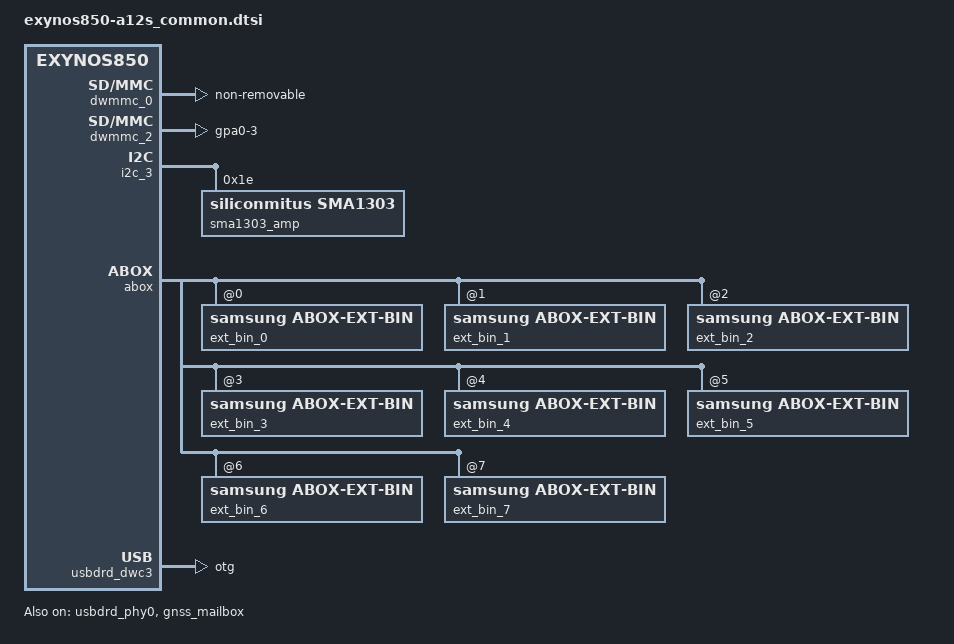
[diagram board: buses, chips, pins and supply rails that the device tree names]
/*
 * SAMSUNG EXYNOS850 board common device tree source
 *
 * Copyright (c) 2019 Samsung Electronics Co., Ltd.
 *		http://www.samsung.com
 *
 * This program is free software; you can redistribute it and/or modify
 * it under the terms of the GNU General Public License version 2 as
 * published by the Free Software Foundation.
 */

#include "../exynos850_common.dtsi"
#include "../exynos850_argos.dtsi"
#include "display-lcd_a12s_common.dtsi"
#include "exynos850-a12s_input_common.dtsi"

/ {
	compatible = "samsung,A12s", "samsung,exynos850";

	fragment@common {
		target-path = "/";
		__overlay__ {
			#address-cells = <2>;
			#size-cells = <1>;

			gnss_mailbox: gnss_mailbox {
				status = "okay";
				compatible = "samsung,exynos-gnss-mailbox";

				reg = <0x0 0x11980000 0x180>; /* MAILBOX AP2GNSS */

				interrupt-parent = <&gic>;
				interrupts = <GIC_SPI INTREQ__MAILBOX_GNSS2AP IRQ_TYPE_LEVEL_HIGH>;

				mbox,name = "gnss_mailbox";
				mbox,id = <0>;
			};

			gnssif {
				status = "okay";
				compatible = "samsung,exynos-gnss";

				interrupt-parent = <&gic>;
				interrupts = <GIC_SPI INTREQ__ALIVE_GNSS_ACTIVE IRQ_TYPE_LEVEL_HIGH>,
						<GIC_SPI INTREQ__GNSS_WDOG_RESET IRQ_TYPE_EDGE_RISING>,
						<GIC_SPI INTREQ__GNSS_WAKEUP_INT IRQ_TYPE_LEVEL_HIGH>,
						<GIC_SPI INTREQ__GNSS_SW_INT IRQ_TYPE_EDGE_RISING>;
				interrupt-names = "ACTIVE", "WATCHDOG", "WAKEUP", "SW_INIT";
				shmem,name = "KEPLER";
				device_node_name = "gnss_ipc";

				/* Mailbox */
				mbox_info = <&gnss_mailbox>;

				/* ap2gnss */
				mbx,int_bcmd = <0>;
				mbx,int_req_fault_info = <1>;
				mbx,int_ipc_msg = <2>;
				mbx,int_ack_wake_set = <3>;
				mbx,int_ack_wake_clr = <4>;

				/* gnss2ap */
				mbx,irq_bcmd = <0>;
				mbx,irq_rsp_fault_info = <1>;
				mbx,irq_ipc_msg = <2>;
				mbx,irq_req_wake_clr = <4>;
				mbx,irq_simple_lock = <15>;

				mbx,reg_bcmd_ctrl = <0>, <1>, <2>, <3>;

				/* Memory */
				memory-region = <&gnss_rmem>;

				reg_rx_ipc_msg = <1 5>;
				reg_tx_ipc_msg = <1 4>;
				reg_rx_head = <1 3>;
				reg_rx_tail = <1 2>;
				reg_tx_head = <1 1>;
				reg_tx_tail = <1 0>;
				fault_info = <1 0x200000 0x180000>;

				shmem,gnss_code_offset = <0x00000000>;
				shmem,gnss_code_size = <0x00000000>;
				shmem,ipc_offset = <0x00380000>;
				shmem,ipc_size = <0x00080000>;
				shmem,ipc_reg_cnt = <32>;
			};

			but_zones: but_zones {
				#list-but-cells = <3>;
			};

			exynos_rgt {
				compatible = "samsung,exynos-rgt";
				num-acpm-pmic = <1>;
			};

			dummy_audio_codec: audio-codec-dummy {
				compatible = "snd-soc-dummy";
				#sound-dai-cells = <0>;
			};

			sound {
				compatible = "samsung,exynos3830-madera";

				samsung,routing = "ABOX SPDY Capture", "VINPUT_FM",
					"SPEAKER", "OUT",
					"BLUETOOTH2 SPK", "ABOX UAIF2 Playback",
					"ABOX UAIF2 Capture", "BLUETOOTH2 MIC",
					"ECHO SPK", "ABOX ECHO Playback",
					"ABOX ECHO Capture", "ECHO MIC",
					"FWD SPK", "ABOX FWD Playback",
					"ABOX FWD Capture", "FWD MIC";

				samsung,aux = <&abox_tplg>;

				rdma0 {
					cpu {
						sound-dai = <&abox_rdma_0 0>;
					};
					platform {
						sound-dai = <&abox_rdma_0 0>;
					};
					codec {
						sound-dai = <&dummy_audio_codec>;
					};
				};
				rdma1 {
					cpu {
						sound-dai = <&abox_rdma_1 0>;
					};
					platform {
						sound-dai = <&abox_rdma_1 0>;
					};
					codec {
						sound-dai = <&dummy_audio_codec>;
					};
				};
				rdma2 {
					cpu {
						sound-dai = <&abox_rdma_2 0>;
					};
					platform {
						sound-dai = <&abox_rdma_2 0>;
					};
					codec {
						sound-dai = <&dummy_audio_codec>;
					};
				};
				rdma3 {
					cpu {
						sound-dai = <&abox_rdma_3 0>;
					};
					platform {
						sound-dai = <&abox_rdma_3 0>;
					};
					codec {
						sound-dai = <&dummy_audio_codec>;
					};
				};
				rdma4 {
					cpu {
						sound-dai = <&abox_rdma_4 0>;
					};
					platform {
						sound-dai = <&abox_rdma_4 0>;
					};
					codec {
						sound-dai = <&dummy_audio_codec>;
					};
				};
				rdma5 {
					cpu {
						sound-dai = <&abox_rdma_5 0>;
					};
					platform {
						sound-dai = <&abox_rdma_5 0>;
					};
					codec {
						sound-dai = <&dummy_audio_codec>;
					};
				};
				rdma6 {
					cpu {
						sound-dai = <&abox_rdma_6 0>;
					};
					platform {
						sound-dai = <&abox_rdma_6 0>;
					};
					codec {
						sound-dai = <&dummy_audio_codec>;
					};
				};
				rdma7 {
					cpu {
						sound-dai = <&abox_rdma_7 0>;
					};
					platform {
						sound-dai = <&abox_rdma_7 0>;
					};
					codec {
						sound-dai = <&dummy_audio_codec>;
					};
				};
				rdma8 {
					cpu {
						sound-dai = <&abox_rdma_8 0>;
					};
					platform {
						sound-dai = <&abox_rdma_8 0>;
					};
					codec {
						sound-dai = <&dummy_audio_codec>;
					};
				};
				rdma9 {
					cpu {
						sound-dai = <&abox_rdma_9 0>;
					};
					platform {
						sound-dai = <&abox_rdma_9 0>;
					};
					codec {
						sound-dai = <&dummy_audio_codec>;
					};
				};
				rdma10 {
					cpu {
						sound-dai = <&abox_rdma_10 0>;
					};
					platform {
						sound-dai = <&abox_rdma_10 0>;
					};
					codec {
						sound-dai = <&dummy_audio_codec>;
					};
				};
				rdma11 {
					cpu {
						sound-dai = <&abox_rdma_11 0>;
					};
					platform {
						sound-dai = <&abox_rdma_11 0>;
					};
					codec {
						sound-dai = <&dummy_audio_codec>;
					};
				};
				wdma0 {
					cpu {
						sound-dai = <&abox_wdma_0 0>;
					};
					platform {
						sound-dai = <&abox_wdma_0 0>;
					};
					codec {
						sound-dai = <&dummy_audio_codec>;
					};
				};
				wdma1 {
					cpu {
						sound-dai = <&abox_wdma_1 0>;
					};
					platform {
						sound-dai = <&abox_wdma_1 0>;
					};
					codec {
						sound-dai = <&dummy_audio_codec>;
					};
				};
				wdma2 {
					cpu {
						sound-dai = <&abox_wdma_2 0>;
					};
					platform {
						sound-dai = <&abox_wdma_2 0>;
					};
					codec {
						sound-dai = <&dummy_audio_codec>;
					};
				};
				wdma3 {
					cpu {
						sound-dai = <&abox_wdma_3 0>;
					};
					platform {
						sound-dai = <&abox_wdma_3 0>;
					};
					codec {
						sound-dai = <&dummy_audio_codec>;
					};
				};
				wdma4 {
					cpu {
						sound-dai = <&abox_wdma_4 0>;
					};
					platform {
						sound-dai = <&abox_wdma_4 0>;
					};
					codec {
						sound-dai = <&dummy_audio_codec>;
					};
				};
				dual0 {
					cpu {
						sound-dai = <&abox_dual_0>;
					};
					platform {
						sound-dai = <&abox_dual_0>;
					};
					codec {
						sound-dai = <&dummy_audio_codec>;
					};
				};
				dual1 {
					cpu {
						sound-dai = <&abox_dual_1>;
					};
					platform {
						sound-dai = <&abox_dual_1>;
					};
					codec {
						sound-dai = <&dummy_audio_codec>;
					};
				};
				dual2 {
					cpu {
						sound-dai = <&abox_dual_2>;
					};
					platform {
						sound-dai = <&abox_dual_2>;
					};
					codec {
						sound-dai = <&dummy_audio_codec>;
					};
				};
				dual3 {
					cpu {
						sound-dai = <&abox_dual_3>;
					};
					platform {
						sound-dai = <&abox_dual_3>;
					};
					codec {
						sound-dai = <&dummy_audio_codec>;
					};
				};
				dual4 {
					cpu {
						sound-dai = <&abox_dual_4>;
					};
					platform {
						sound-dai = <&abox_dual_4>;
					};
					codec {
						sound-dai = <&dummy_audio_codec>;
					};
				};
				ddma0 {
					cpu {
						sound-dai = <&abox_ddma_0>;
					};
					platform {
						sound-dai = <&abox_ddma_0>;
					};
					codec {
						sound-dai = <&dummy_audio_codec>;
					};
				};
				ddma1 {
					cpu {
						sound-dai = <&abox_ddma_1>;
					};
					platform {
						sound-dai = <&abox_ddma_1>;
					};
					codec {
						sound-dai = <&dummy_audio_codec>;
					};
				};
				ddma2 {
					cpu {
						sound-dai = <&abox_ddma_2>;
					};
					platform {
						sound-dai = <&abox_ddma_2>;
					};
					codec {
						sound-dai = <&dummy_audio_codec>;
					};
				};
				ddma3 {
					cpu {
						sound-dai = <&abox_ddma_3>;
					};
					platform {
						sound-dai = <&abox_ddma_3>;
					};
					codec {
						sound-dai = <&dummy_audio_codec>;
					};
				};
				ddma4 {
					cpu {
						sound-dai = <&abox_ddma_4>;
					};
					platform {
						sound-dai = <&abox_ddma_4>;
					};
					codec {
						sound-dai = <&dummy_audio_codec>;
					};
				};
				ddma5 {
					cpu {
						sound-dai = <&abox_ddma_5>;
					};
					platform {
						sound-dai = <&abox_ddma_5>;
					};
					codec {
						sound-dai = <&dummy_audio_codec>;
					};
				};
				uaif0 {
					format = "i2s";
					cpu {
						sound-dai = <&abox_uaif_0>;
					};
					codec {
						sound-dai = <&codec_aud3004x>;
					};
				};
				uaif1 {
					format = "i2s";
					cpu {
						sound-dai = <&abox_uaif_1>;
					};
					codec {
						sound-dai = <&sma1303_amp>;
					};
				};
				uaif2 {
					format = "i2s";
					cpu {
						sound-dai = <&abox_uaif_2>;
					};
					codec {
						sound-dai = <&dummy_audio_codec>;
					};
				};
				spdy {
					cpu {
						sound-dai = <&abox_spdy>;
					};
					codec {
						sound-dai = <&dummy_audio_codec>;
					};
				};
				sifs0 {
					cpu {
						sound-dai = <&abox 0>;
					};
					codec {
						sound-dai = <&dummy_audio_codec>;
					};
				};
				sifs1 {
					cpu {
						sound-dai = <&abox 1>;
					};
					codec {
						sound-dai = <&dummy_audio_codec>;
					};
				};
				sifs2 {
					cpu {
						sound-dai = <&abox 2>;
					};
					codec {
						sound-dai = <&dummy_audio_codec>;
					};
				};
				sifs3 {
					cpu {
						sound-dai = <&abox 3>;
					};
					codec {
						sound-dai = <&dummy_audio_codec>;
					};
				};
				sifs4 {
					cpu {
						sound-dai = <&abox 4>;
					};
					codec {
						sound-dai = <&dummy_audio_codec>;
					};
				};
				sifs5 {
					cpu {
						sound-dai = <&abox 5>;
					};
					codec {
						sound-dai = <&dummy_audio_codec>;
					};
				};
				nsrc0 {
					cpu {
						sound-dai = <&abox 8>;
					};
					codec {
						sound-dai = <&dummy_audio_codec>;
					};
				};
				nsrc1 {
					cpu {
						sound-dai = <&abox 9>;
					};
					codec {
						sound-dai = <&dummy_audio_codec>;
					};
				};
				nsrc2 {
					cpu {
						sound-dai = <&abox 10>;
					};
					codec {
						sound-dai = <&dummy_audio_codec>;
					};
				};
				nsrc3 {
					cpu {
						sound-dai = <&abox 11>;
					};
					codec {
						sound-dai = <&dummy_audio_codec>;
					};
				};
				nsrc4 {
					cpu {
						sound-dai = <&abox 12>;
					};
					codec {
						sound-dai = <&dummy_audio_codec>;
					};
				};
				rdma0_be {
					cpu {
						sound-dai = <&abox_rdma_0 1>;
					};
					platform {
						sound-dai = <&abox_rdma_0 1>;
					};
					codec {
						sound-dai = <&dummy_audio_codec>;
					};
				};
				rdma1_be {
					cpu {
						sound-dai = <&abox_rdma_1 1>;
					};
					platform {
						sound-dai = <&abox_rdma_1 1>;
					};
					codec {
						sound-dai = <&dummy_audio_codec>;
					};
				};
				rdma2_be {
					cpu {
						sound-dai = <&abox_rdma_2 1>;
					};
					platform {
						sound-dai = <&abox_rdma_2 1>;
					};
					codec {
						sound-dai = <&dummy_audio_codec>;
					};
				};
				rdma3_be {
					cpu {
						sound-dai = <&abox_rdma_3 1>;
					};
					platform {
						sound-dai = <&abox_rdma_3 1>;
					};
					codec {
						sound-dai = <&dummy_audio_codec>;
					};
				};
				rdma4_be {
					cpu {
						sound-dai = <&abox_rdma_4 1>;
					};
					platform {
						sound-dai = <&abox_rdma_4 1>;
					};
					codec {
						sound-dai = <&dummy_audio_codec>;
					};
				};
				rdma5_be {
					cpu {
						sound-dai = <&abox_rdma_5 1>;
					};
					platform {
						sound-dai = <&abox_rdma_5 1>;
					};
					codec {
						sound-dai = <&dummy_audio_codec>;
					};
				};
				rdma6_be {
					cpu {
						sound-dai = <&abox_rdma_6 1>;
					};
					platform {
						sound-dai = <&abox_rdma_6 1>;
					};
					codec {
						sound-dai = <&dummy_audio_codec>;
					};
				};
				rdma7_be {
					cpu {
						sound-dai = <&abox_rdma_7 1>;
					};
					platform {
						sound-dai = <&abox_rdma_7 1>;
					};
					codec {
						sound-dai = <&dummy_audio_codec>;
					};
				};
				rdma8_be {
					cpu {
						sound-dai = <&abox_rdma_8 1>;
					};
					platform {
						sound-dai = <&abox_rdma_8 1>;
					};
					codec {
						sound-dai = <&dummy_audio_codec>;
					};
				};
				rdma9_be {
					cpu {
						sound-dai = <&abox_rdma_9 1>;
					};
					platform {
						sound-dai = <&abox_rdma_9 1>;
					};
					codec {
						sound-dai = <&dummy_audio_codec>;
					};
				};
				rdma10_be {
					cpu {
						sound-dai = <&abox_rdma_10 1>;
					};
					platform {
						sound-dai = <&abox_rdma_10 1>;
					};
					codec {
						sound-dai = <&dummy_audio_codec>;
					};
				};
				rdma11_be {
					cpu {
						sound-dai = <&abox_rdma_11 1>;
					};
					platform {
						sound-dai = <&abox_rdma_11 1>;
					};
					codec {
						sound-dai = <&dummy_audio_codec>;
					};
				};
				wdma0_be {
					cpu {
						sound-dai = <&abox_wdma_0 1>;
					};
					platform {
						sound-dai = <&abox_wdma_0 1>;
					};
					codec {
						sound-dai = <&dummy_audio_codec>;
					};
				};
				wdma1_be {
					cpu {
						sound-dai = <&abox_wdma_1 1>;
					};
					platform {
						sound-dai = <&abox_wdma_1 1>;
					};
					codec {
						sound-dai = <&dummy_audio_codec>;
					};
				};
				wdma2_be {
					cpu {
						sound-dai = <&abox_wdma_2 1>;
					};
					platform {
						sound-dai = <&abox_wdma_2 1>;
					};
					codec {
						sound-dai = <&dummy_audio_codec>;
					};
				};
				wdma3_be {
					cpu {
						sound-dai = <&abox_wdma_3 1>;
					};
					platform {
						sound-dai = <&abox_wdma_3 1>;
					};
					codec {
						sound-dai = <&dummy_audio_codec>;
					};
				};
				wdma4_be {
					cpu {
						sound-dai = <&abox_wdma_4 1>;
					};
					platform {
						sound-dai = <&abox_wdma_4 1>;
					};
					codec {
						sound-dai = <&dummy_audio_codec>;
					};
				};
				echo {
					cpu {
						sound-dai = <&abox 17>;
					};
					codec {
						sound-dai = <&dummy_audio_codec>;
					};
				};
				fwd {
					cpu {
						sound-dai = <&abox 18>;
					};
					codec {
						sound-dai = <&dummy_audio_codec>;
					};
				};
			}; /* end of soundcard */

			sec-audio-debug {
				compatible = "samsung,audio-debug";
				status = "okay";
			};

			acpm_mfd_bus@11A50000 {
				status = "okay";
				#address-cells = <1>;
				#size-cells = <0>;
				interrupt-parent = <&gic>;
				codec_aud3004x: aud3004x@07 {
					compatible = "codec,aud3004x";
					#sound-dai-cells = <0>;
					reg = <0x07>;
					i2c-speedy-address;
					pinctrl-names = "default";
					io-channels = <&exynos_adc 7>,<&exynos_adc 6>;
					io-channel-names = "adc-gdet","adc-ear";
					#io-channel-cells = <1>;
					ldet-vth = <2>;
					ldet-pop = <0>;
					mic-adc-range = <1407>;
					adc-thd-fake-jack = <101>;
					adc-thd-auxcable = <201>;
					adc-thd-water-in = <601>;
					adc-thd-water-out = <3151>;
					but-zones-list = <&but_zones 226 0 377>,
						<&but_zones 582 378 449>,
						<&but_zones 115 450 628>,
						<&but_zones 114 629 1161>;
					btn-release-value = <1407>;
					jackout-dbnc-time = <2>;
				};
			}; /* end of acpm_mfd_bus@11a10000 */

			usb_hs_tune:hs_tune {
				status = "disabled";
				hs_tune_cnt = <8>;
				/* value = <device host> */
				hs_tune1 {
					tune_name = "compdis";
					tune_value = <0x7 0x7>;
				};

				hs_tune2 {
					tune_name = "tx_pre_emp";
					tune_value = <0x3 0x3>;
				};

				hs_tune3 {
					tune_name = "tx_pre_emp_plus";
					tune_value = <0x0 0x0>;
				};

				hs_tune4 {
					tune_name = "tx_res";
					tune_value = <0x3 0x3>;
				};

				hs_tune5 {
					tune_name = "tx_rise";
					tune_value = <0x3 0x3>;
				};

				hs_tune6 {
					tune_name = "tx_vref";
					tune_value = <0xe 0xc>;
				};

				hs_tune7 {
					tune_name = "rx_sqrx";
					tune_value = <0x7 0x7>;
				};

				hs_tune8 {
					tune_name = "utmi_clk";
					tune_value = <0x1 0x1>;
				};
			};

			usb_notifier {
				compatible = "samsung,usb-notifier";
				udc = <&udc>;
				disable_host_wakelock;
			};

			fm@14AC0000 {
				without_elna = <1>;
				num-volume-level = <16>;
				val-vol-level = < 0 16 23 32 45 64 90 128 181 256 362 512 724 1024 1447 1721 >;
			};
		}; /* end of __overlay__ */
	}; /* end of fragment */
}; /* end of root */

&pinctrl_0 {
	dwmmc2_cd_ext_irq: dwmmc2_cd_ext_irq {
		samsung,pins = "gpa0-3";
		samsung,pin-function = <0xf>;
		samsung,pin-pud = <0>;
		samsung,pin-drv = <4>;
	};
};

&dwmmc_0 {
	#address-cells = <1>;
	#size-cells = <0>;
	status = "okay";
	num-slots = <1>;
	broken-cd;
	fixed_voltage;
	supports-highspeed;
	mmc-ddr-1_8v;
	mmc-hs200-1_8v;
	mmc-hs400-1_8v;
	supports-8bit;
	supports-cmd23;
	supports-erase;
	mmc-hs400-enhanced-strobe;
	card-init-hwacg-ctrl;
	mmc-inline-crypt;
	support-cmdq;
	support-cmd-logging;
	qos-dvfs-level = <334000>;
	data-timeout = <200>;
	hto-timeout = <80>;
	enable-ulp-mode;
	fifo-depth = <0x40>;
	non-removable;
	desc-size = <4>;
	card-detect-delay = <200>;
	samsung,dw-mshc-ciu-div = <3>;
	samsung,dw-mshc-txdt-crc-timer-fastlimit = <0x34>;
	samsung,dw-mshc-txdt-crc-timer-initval = <0x38>;
	samsung,dw-mshc-hs400-tx-delay-line = <0x40>;
	samsung,dw-mshc-hs400-delay-line = <0x60>;
	samsung,dw-mshc-sdr-timing = <3 0 4 0>;
	samsung,dw-mshc-ddr-timing = <3 0 4 2>;
	samsung,dw-mshc-hs200-timing = <3 0 3 0>;
	samsung,dw-mshc-hs400-timing = <1 0 2 0>;
	samsung,dw-mshc-hs400-ulp-timing = <3 0 4 2>;

	num-ref-clks = <12>;
	ciu_clkin = <25 50 50 25 50 100 200 50 50 200 200 200>;

	/* Swapping clock drive strength */
	clk-drive-number = <4>;
	pinctrl-names = "default",
		"fast-slew-rate-1x",
		"fast-slew-rate-2x",
		"fast-slew-rate-3x",
		"fast-slew-rate-4x";
	pinctrl-0 = <&sd0_clk &sd0_cmd &sd0_rdqs &sd0_nreset &sd0_bus1 &sd0_bus4 &sd0_bus8>;
	pinctrl-1 = <&sd0_clk_fast_slew_rate_1x>;
	pinctrl-2 = <&sd0_clk_fast_slew_rate_2x>;
	pinctrl-3 = <&sd0_clk_fast_slew_rate_3x>;
	pinctrl-4 = <&sd0_clk_fast_slew_rate_4x>;

	slot@0 {
		reg = <0>;
		bus-width = <8>;
	};

};

&dwmmc_2 {
	#address-cells = <1>;
	#size-cells = <0>;
	status = "okay";
	num-slots = <1>;
	supports-4bit;
	supports-cmd23;
	supports-erase;
	supports-highspeed;
	sd-uhs-sdr50;
	sd-uhs-sdr104;
	card-detect-gpio;
	card-detect-invert;
	bypass-for-allpass;
	use-fine-tuning;
	card-init-hwacg-ctrl;
	use-runtime-pm;
	fifo-depth = <0x40>;
	desc-size = <4>;
	ssc-rate = <3>;
	card-detect-delay = <200>;
	data-timeout = <200>;
	hto-timeout = <80>;
	samsung,dw-mshc-ciu-div = <3>;
	clock-frequency = <800000000>;
	samsung,dw-mshc-sdr-timing = <3 0 2 0>;
	samsung,dw-mshc-ddr-timing = <3 0 2 1>;
	samsung,dw-mshc-sdr50-timing = <3 0 4 2>;
	samsung,dw-mshc-sdr104-timing = <3 0 3 0>;

	num-ref-clks = <9>;
	ciu_clkin = <25 50 50 25 50 100 200 50 50>;

	/* Swapping clock drive strength */
	clk-drive-number = <6>;
	pinctrl-names = "init",
		"fast-slew-rate-1x",
		"fast-slew-rate-1_5x",
		"fast-slew-rate-2x",
		"fast-slew-rate-2_5x",
		"fast-slew-rate-3x",
		"fast-slew-rate-4x",
		"pins-as-pdn",
		"pins-as-func";
	pinctrl-0 = <&sd2_clk &sd2_cmd &sd2_bus1 &sd2_bus4 &dwmmc2_cd_ext_irq>;
	pinctrl-1 = <&sd2_clk_fast_slew_rate_1x>;
	pinctrl-2 = <&sd2_clk_fast_slew_rate_1_5x>;
	pinctrl-3 = <&sd2_clk_fast_slew_rate_2x>;
	pinctrl-4 = <&sd2_clk_fast_slew_rate_2_5x>;
	pinctrl-5 = <&sd2_clk_fast_slew_rate_3x>;
	pinctrl-6 = <&sd2_clk_fast_slew_rate_4x>;
	pinctrl-7 = <&sd2_pins_as_pdn>;
	pinctrl-8 = <&sd2_clk &sd2_cmd &sd2_bus1 &sd2_bus4>;

	card-detect = <&gpa0 3 0xf>;
	sec-sd-slot-type = <2>; /* Hybrid Tray SD slot */

	slot@0 {
		reg = <0>;
		bus-width = <4>;
		disable-wp;
	};

	mmc-pmu-pad {
		offset = <0x1CA0>;
		mask = <0x800>;
		val = <0x800>;
	};
};

&pinctrl_5 {
	vdd_on: vdd-on {
		samsung,pins = "gpg2-6";
		samsung,pin-function = <1>;
		samsung,pin-val = <1>;
		samsung,pin-pud = <3>;
		samsung,pin-drv = <3>;
	};

	vdd_off: vdd-off {
		samsung,pins = "gpg2-6";
		samsung,pin-functon = <1>;
		samsung,pin-val = <0>;
		samsung,pin-pud = <1>;
		samsung,pin-drv = <3>;
	};

	/*spk_amp_rst: spk-amp-rst {
		samsung,pins = "gpg1-6";
		samsung,pin-function = <1>;
		samsung,pin-pud = <0>;
		samsung,pin-con-pdn = <0>;
		samsung,pin-pud-pdn = <0>;
	};*/
};

&i2c_0 {
	samsung,glitch-filter;
	samsung,fix-doxfer-return;
};

&i2c3_bus {
	/delete-property/ samsung,pin-function;
	samsung,pin-function = <2>;
	/delete-property/ samsung,pin-pud;
	samsung,pin-pud = <3>;
	samsung,pin-con-pdn = <3>;
	samsung,pin-pud-pdn = <3>;
};

&i2c_3 {
	#address-cells = <1>;
	#size-cells = <0>;
	samsung,i2c-max-bus-freq = <400000>;
	status = "okay";

	sma1303_amp: sma1303@1e {
		#sound-dai-cells = <0>;
		compatible = "siliconmitus,sma1303";
		reg = <0x1e>;
		init-vol = <0x31>;
		sys-clk-id = <0x03>;
		status = "okay";
	};
};

&abox {
	samsung,quirks = "try to asrc off", "aram mode", "use lsi codec";
	ext_bin_0: ext-bin@0 {
		compatible = "samsung,abox-ext-bin";
		samsung,name = "AP_AUDIO_SLSI.bin";
		samsung,area = <1>;
		samsung,offset = <0x5EA000>;
		samsung,changable;
	};
	ext_bin_1: ext-bin@1 {
		compatible = "samsung,abox-ext-bin";
		samsung,name = "APDV_AUDIO_SLSI.bin";
		samsung,area = <1>;
		samsung,offset = <0x656000>;
		samsung,changable;
	};
	ext_bin_2: ext-bin@2 {
		compatible = "samsung,abox-ext-bin";
		samsung,name = "SoundBoosterParam.bin";
		samsung,area = <1>;
		samsung,offset = <0x6D6000>;
		samsung,changable;
	};
	ext_bin_3: ext-bin@3 {
		compatible = "samsung,abox-ext-bin";
		samsung,name = "txse1.bin";
		samsung,area = <1>;
		samsung,offset = <0xA00000>;
		/* delete-property */ samsung,changable;
	};
	ext_bin_4: ext-bin@4 {
		compatible = "samsung,abox-ext-bin";
		samsung,name = "txse2.bin";
		samsung,area = <1>;
		samsung,offset = <0xD00000>;
		/* delete-property */ samsung,changable;
	};
	ext_bin_5: ext-bin@5 {
		compatible = "samsung,abox-ext-bin";
		samsung,name = "rxse.bin";
		samsung,area = <1>;
		samsung,offset = <0xD60000>;
		/* delete-property */ samsung,changable;
	};
	ext_bin_6: ext-bin@6 {
		compatible = "samsung,abox-ext-bin";
		samsung,name = "sb_others.bin";
		samsung,area = <1>;
		samsung,offset = <0xE00000>;
		/* delete-property */ samsung,changable;
	};
	ext_bin_7: ext-bin@7 {
		compatible = "samsung,abox-ext-bin";
		samsung,name = "listenbackeffect.bin";
		samsung,area = <1>;
		samsung,offset = <0xEB0000>;
		/* delete-property */ samsung,changable;
	};
	ext_bin_8: ext-bin@8 {
		status = "disabled";
	};
};

&usbdrd_dwc3 {
	dr_mode = "otg";
	maximum-speed = "high-speed";
	snps,quirk-frame-length-adjustment = <0x20>;
	snps,u1u2_exitfail_quirk;
	/* ux_exit_in_px should be defined in MK, LT */
	snps,ux_exit_in_px_quirk;
	/* elastic_buf_mode_quirk should be defined in MK */
	snps,elastic_buf_mode_quirk;
	/* usb3-lpm-capable;
	snps,usb3_lpm_capable;
	adj-sof-accuracy = <1>; */
	/*
	 * dis-u2-freeclk-exists-quirk, dis_u2_susphy_quirk are alternative.
	 * One of them should be selected
	 */
	snps,dis-u2-freeclk-exists-quirk;
	/*snps,dis_u2_susphy_quirk;*/

	usb_audio_offloading = <0>;
//	abox = <&abox>; /* Temporary block */
};

&usbdrd_phy0 {
	status = "okay";
	usb3phy-isolation= <1>;
	pinctrl-names = "default";
//	pinctrl-0 = <&phy_port>;
//	phy,gpio_phy_port = <&gpg0 4 0x0>;
	hs_tune_param = <&usb_hs_tune>;
//	ss_tune_param = <&usb_ss_tune>;
};

&reserved_memory {
	secure_camera {
		compatible = "exynos9820-ion";
		ion,heapname = "secure_camera_heap";
		reg = <0x0 0xE1900000 0x1520000>;
		ion,secure;
		ion,untouchable;
		ion,protection_id = <11>;
		ion,alignment = <0x10000>;
	};
	camera_contig {
		compatible = "exynos9820-ion";
		ion,heapname = "camera_heap";
		reg = <0x0 0xDB900000 0xB00000>;
		ion,secure;
		ion,protection_id = <10>;
		ion,alignment = <0x10000>;
	};
	secure_camera_ext {
		compatible = "exynos9820-ion";
		ion,heapname = "secure_camera_heap_drc";
		reg = <0x0 0xE2E20000 0x780000>;
		ion,secure;
		ion,protection_id = <14>;
		ion,alignment = <0x10000>;
	};
};

/* To handle radiant sensitivity issue for Nacho */
&pinctrl_5 {
	sensor_mclk1_fn: sensor-mclk1-fn {
		samsung,pins = "gpc0-1";
		samsung,pin-function = <2>;
		samsung,pin-pud = <0>;
		samsung,pin-drv = <0>;
	};
};

&cpif {
	pinctrl-names = "default";
	pinctrl-0 = <&rffe1_clk &rffe1_data>, <&cable_det_lb_mb>;
};
